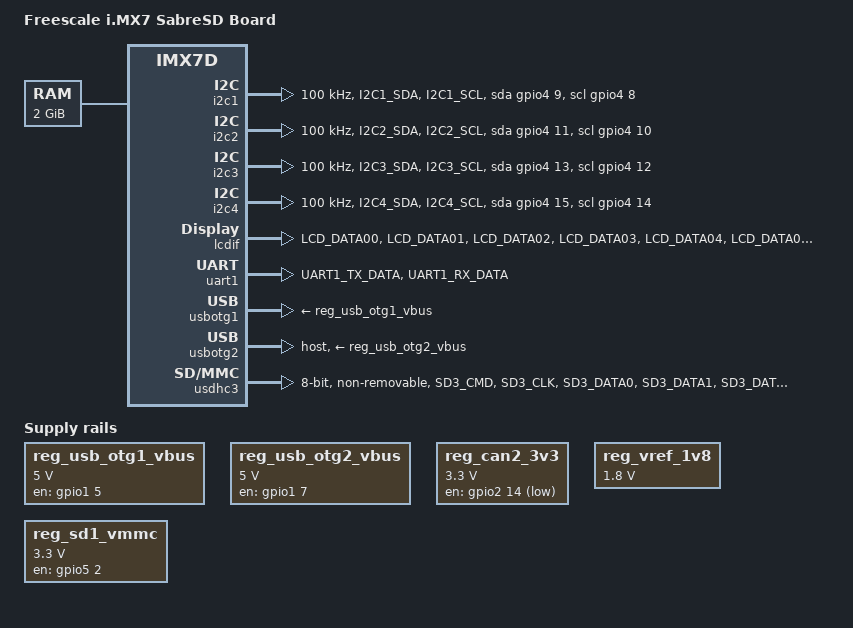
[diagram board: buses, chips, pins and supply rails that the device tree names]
/*
 * Copyright 2017 NXP
 *
 * SPDX-License-Identifier:	GPL-2.0+
 */

/dts-v1/;

#include "imx7d.dtsi"

/ {
	model = "Freescale i.MX7 SabreSD Board";
	compatible = "fsl,imx7d-sdb", "fsl,imx7d";

	memory {
		reg = <0x80000000 0x80000000>;
	};

	regulators {
		compatible = "simple-bus";
		#address-cells = <1>;
		#size-cells = <0>;


		reg_usb_otg1_vbus: regulator@0 {
			compatible = "regulator-fixed";
			reg = <0>;
			regulator-name = "usb_otg1_vbus";
			regulator-min-microvolt = <5000000>;
			regulator-max-microvolt = <5000000>;
			gpio = <&gpio1 5 GPIO_ACTIVE_HIGH>;
			enable-active-high;
		};

		reg_usb_otg2_vbus: regulator@1 {
			compatible = "regulator-fixed";
			reg = <1>;
			regulator-name = "usb_otg2_vbus";
			regulator-min-microvolt = <5000000>;
			regulator-max-microvolt = <5000000>;
			gpio = <&gpio1 7 GPIO_ACTIVE_HIGH>;
			enable-active-high;
		};

		reg_can2_3v3: regulator@2 {
			compatible = "regulator-fixed";
			reg = <2>;
			regulator-name = "can2-3v3";
			regulator-min-microvolt = <3300000>;
			regulator-max-microvolt = <3300000>;
			gpio = <&gpio2 14 GPIO_ACTIVE_LOW>;
		};

		reg_vref_1v8: regulator@3 {
			compatible = "regulator-fixed";
			reg = <3>;
			regulator-name = "vref-1v8";
			regulator-min-microvolt = <1800000>;
			regulator-max-microvolt = <1800000>;
		};

		reg_sd1_vmmc: regulator@5 {
			compatible = "regulator-fixed";
			regulator-name = "VDD_SD1";
			regulator-min-microvolt = <3300000>;
			regulator-max-microvolt = <3300000>;
			gpio = <&gpio5 2 GPIO_ACTIVE_HIGH>;
			startup-delay-us = <200000>;
			off-on-delay = <20000>;
			enable-active-high;
		};

	};
};

&cpu0 {
	/*arm-supply = <&sw1a_reg>;*/
};


&i2c1 {
	clock-frequency = <100000>;
	pinctrl-names = "default", "gpio";
	pinctrl-0 = <&pinctrl_i2c1>;
	scl-gpios = <&gpio4 8 GPIO_ACTIVE_HIGH>;
	sda-gpios = <&gpio4 9 GPIO_ACTIVE_HIGH>;
	status = "okay";
};

&i2c2 {
	clock-frequency = <100000>;
	pinctrl-names = "default", "gpio";
	pinctrl-0 = <&pinctrl_i2c2>;
	scl-gpios = <&gpio4 10 GPIO_ACTIVE_HIGH>;
	sda-gpios = <&gpio4 11 GPIO_ACTIVE_HIGH>;
	status = "okay";
};

&i2c3 {
	clock-frequency = <100000>;
	pinctrl-names = "default", "gpio";
	pinctrl-0 = <&pinctrl_i2c3>;
	scl-gpios = <&gpio4 12 GPIO_ACTIVE_HIGH>;
	sda-gpios = <&gpio4 13 GPIO_ACTIVE_HIGH>;
	status = "okay";
};

&i2c4 {
	clock-frequency = <100000>;
	pinctrl-names = "default", "gpio";
	pinctrl-0 = <&pinctrl_i2c4>;
	scl-gpios = <&gpio4 14 GPIO_ACTIVE_HIGH>;
	sda-gpios = <&gpio4 15 GPIO_ACTIVE_HIGH>;
	status = "okay";
};

&lcdif {
	pinctrl-names = "default";
	pinctrl-0 = <&pinctrl_lcdif>;
	/*enable-gpio = <&gpio_spi 7 GPIO_ACTIVE_LOW>; TODO */
	display = <&display0>;
	status = "okay";

	display0: display@0 {
		bits-per-pixel = <16>;
		bus-width = <24>;

		display-timings {
			native-mode = <&timing0>;

			timing0: timing0 {
				clock-frequency = <40000000>;
				hactive = <334>;
				vactive = <1405>;
				hfront-porch = <1>;
				hback-porch = <1>;
				hsync-len = <1>;
				vback-porch = <1>;
				vfront-porch = <1>;
				vsync-len = <1>;
				hsync-active = <0>;
				vsync-active = <0>;
				de-active = <1>;
				pixelclk-active = <0>;
			};
		};
	};
};

&sdma {
	status = "okay";
};


&iomuxc_lpsr {
	pinctrl-names = "default";
	pinctrl-0 = <&pinctrl_usbotg2_pwr_2>;

	imx7d-sdb {
		pinctrl_usbotg2_pwr_2: usbotg2-2 {
			fsl,pins = <
				MX7D_PAD_GPIO1_IO07__GPIO1_IO7 0x14
			>;
		};

		pinctrl_wdog: wdoggrp {
			fsl,pins = <
				MX7D_PAD_GPIO1_IO00__WDOD1_WDOG_B 0x74
			>;
		};
	};
};

&uart1 {
	pinctrl-names = "default";
	pinctrl-0 = <&pinctrl_uart1>;
	assigned-clocks = <&clks IMX7D_UART1_ROOT_SRC>;
	assigned-clock-parents = <&clks IMX7D_OSC_24M_CLK>;
	status = "okay";
};

&usbotg1 {
	vbus-supply = <&reg_usb_otg1_vbus>;
	srp-disable;
	hnp-disable;
	adp-disable;
	status = "okay";
};

&usbotg2 {
	vbus-supply = <&reg_usb_otg2_vbus>;
	dr_mode = "host";
	status = "okay";
};

&usdhc2 {
	pinctrl-names = "default", "state_100mhz", "state_200mhz";
	pinctrl-0 = <&pinctrl_wifi &pinctrl_usdhc2>;
	pinctrl-1 = <&pinctrl_wifi &pinctrl_usdhc2_100mhz>;
	pinctrl-2 = <&pinctrl_wifi &pinctrl_usdhc2_200mhz>;
	enable-sdio-wakeup;
	keep-power-in-suspend;
	non-removable;
	cd-post;
	pm-ignore-notify;
	wifi-host;
	status = "disabled";
};

&usdhc3 {
	pinctrl-names = "default", "state_100mhz", "state_200mhz";
	pinctrl-0 = <&pinctrl_usdhc3>;
	pinctrl-1 = <&pinctrl_usdhc3_100mhz>;
	pinctrl-2 = <&pinctrl_usdhc3_200mhz>;
	assigned-clocks = <&clks IMX7D_USDHC3_ROOT_CLK>;
	assigned-clock-rates = <400000000>;
	bus-width = <8>;
	non-removable;
	status = "okay";
};

&wdog1 {
	pinctrl-names = "default";
	pinctrl-0 = <&pinctrl_wdog>;
	fsl,ext-reset-output;
};

&iomuxc {
	pinctrl-names = "default";
	pinctrl-0 = <&pinctrl_wifi>;

	imx7d-sdb {
		pinctrl_wifi: wifigrp {
			fsl,pins = <
				MX7D_PAD_SD1_WP__CCM_CLKO2	    0x00000014
			>;
		};

		pinctrl_i2c1: i2c1grp {
			fsl,pins = <
				MX7D_PAD_I2C1_SDA__I2C1_SDA		0x4000007f
				MX7D_PAD_I2C1_SCL__I2C1_SCL		0x4000007f
			>;
		};

		pinctrl_i2c2: i2c2grp {
			fsl,pins = <
				MX7D_PAD_I2C2_SDA__I2C2_SDA		0x4000007f
				MX7D_PAD_I2C2_SCL__I2C2_SCL		0x4000007f
			>;
		};

		pinctrl_i2c3: i2c3grp {
			fsl,pins = <
				MX7D_PAD_I2C3_SDA__I2C3_SDA		0x4000007f
				MX7D_PAD_I2C3_SCL__I2C3_SCL		0x4000007f
			>;
		};

		pinctrl_i2c4: i2c4grp {
			fsl,pins = <
				MX7D_PAD_I2C4_SDA__I2C4_SDA		0x4000007f
				MX7D_PAD_I2C4_SCL__I2C4_SCL		0x4000007f
			>;
		};

		pinctrl_lcdif: lcdifgrp {
			fsl,pins = <
				MX7D_PAD_LCD_DATA00__LCD_DATA0		0x79
				MX7D_PAD_LCD_DATA01__LCD_DATA1		0x79
				MX7D_PAD_LCD_DATA02__LCD_DATA2		0x79
				MX7D_PAD_LCD_DATA03__LCD_DATA3		0x79
				MX7D_PAD_LCD_DATA04__LCD_DATA4		0x79
				MX7D_PAD_LCD_DATA05__LCD_DATA5		0x79
				MX7D_PAD_LCD_DATA06__LCD_DATA6		0x79
				MX7D_PAD_LCD_DATA07__LCD_DATA7		0x79
				MX7D_PAD_LCD_DATA08__LCD_DATA8		0x79
				MX7D_PAD_LCD_DATA09__LCD_DATA9		0x79
				MX7D_PAD_LCD_DATA10__LCD_DATA10		0x79
				MX7D_PAD_LCD_DATA11__LCD_DATA11		0x79
				MX7D_PAD_LCD_DATA12__LCD_DATA12		0x79
				MX7D_PAD_LCD_DATA13__LCD_DATA13		0x79
				MX7D_PAD_LCD_DATA14__LCD_DATA14		0x79
				MX7D_PAD_LCD_DATA15__LCD_DATA15		0x79
				MX7D_PAD_LCD_DATA16__LCD_DATA16		0x79
				MX7D_PAD_LCD_DATA17__LCD_DATA17		0x79
				MX7D_PAD_LCD_DATA18__LCD_DATA18		0x79
				MX7D_PAD_LCD_DATA19__LCD_DATA19		0x79
				MX7D_PAD_LCD_DATA20__LCD_DATA20		0x79
				MX7D_PAD_LCD_DATA21__LCD_DATA21		0x79
				MX7D_PAD_LCD_DATA22__LCD_DATA22		0x79
				MX7D_PAD_LCD_DATA23__LCD_DATA23		0x79
				MX7D_PAD_LCD_CLK__LCD_CLK		0x79
				MX7D_PAD_LCD_ENABLE__LCD_ENABLE		0x79
				MX7D_PAD_LCD_VSYNC__LCD_VSYNC		0x79
				MX7D_PAD_LCD_HSYNC__LCD_HSYNC		0x79
				MX7D_PAD_LCD_RESET__LCD_RESET		0x79
			>;
		};

		pinctrl_uart1: uart1grp {
			fsl,pins = <
				MX7D_PAD_UART1_TX_DATA__UART1_DCE_TX	0x79
				MX7D_PAD_UART1_RX_DATA__UART1_DCE_RX	0x79
			>;
		};

		pinctrl_usbotg2_pwr_1: usbotg2-1 {
			fsl,pins = <
				MX7D_PAD_UART3_CTS_B__GPIO4_IO7	0x14
			>;
		};

		pinctrl_usdhc2: usdhc2grp {
			fsl,pins = <
				MX7D_PAD_SD2_CMD__SD2_CMD		0x59
				MX7D_PAD_SD2_CLK__SD2_CLK		0x19
				MX7D_PAD_SD2_DATA0__SD2_DATA0		0x59
				MX7D_PAD_SD2_DATA1__SD2_DATA1		0x59
				MX7D_PAD_SD2_DATA2__SD2_DATA2		0x59
				MX7D_PAD_SD2_DATA3__SD2_DATA3		0x59
				MX7D_PAD_ECSPI2_MOSI__GPIO4_IO21	0x19 /* WL_REG_ON */
				MX7D_PAD_ECSPI2_SCLK__GPIO4_IO20	0x19 /* WL_HOST_WAKE */
			>;
		};

		pinctrl_usdhc2_100mhz: usdhc2grp_100mhz {
			fsl,pins = <
				MX7D_PAD_SD2_CMD__SD2_CMD		0x5a
				MX7D_PAD_SD2_CLK__SD2_CLK		0x1a
				MX7D_PAD_SD2_DATA0__SD2_DATA0		0x5a
				MX7D_PAD_SD2_DATA1__SD2_DATA1		0x5a
				MX7D_PAD_SD2_DATA2__SD2_DATA2		0x5a
				MX7D_PAD_SD2_DATA3__SD2_DATA3		0x5a
			>;
		};

		pinctrl_usdhc2_200mhz: usdhc2grp_200mhz {
			fsl,pins = <
				MX7D_PAD_SD2_CMD__SD2_CMD		0x5b
				MX7D_PAD_SD2_CLK__SD2_CLK		0x1b
				MX7D_PAD_SD2_DATA0__SD2_DATA0		0x5b
				MX7D_PAD_SD2_DATA1__SD2_DATA1		0x5b
				MX7D_PAD_SD2_DATA2__SD2_DATA2		0x5b
				MX7D_PAD_SD2_DATA3__SD2_DATA3		0x5b
			>;
		};


		pinctrl_usdhc3: usdhc3grp {
			fsl,pins = <
				MX7D_PAD_SD3_CMD__SD3_CMD		0x59
				MX7D_PAD_SD3_CLK__SD3_CLK		0x19
				MX7D_PAD_SD3_DATA0__SD3_DATA0		0x59
				MX7D_PAD_SD3_DATA1__SD3_DATA1		0x59
				MX7D_PAD_SD3_DATA2__SD3_DATA2		0x59
				MX7D_PAD_SD3_DATA3__SD3_DATA3		0x59
				MX7D_PAD_SD3_DATA4__SD3_DATA4		0x59
				MX7D_PAD_SD3_DATA5__SD3_DATA5		0x59
				MX7D_PAD_SD3_DATA6__SD3_DATA6		0x59
				MX7D_PAD_SD3_DATA7__SD3_DATA7		0x59
				MX7D_PAD_SD3_STROBE__SD3_STROBE		0x19
			>;
		};

		pinctrl_usdhc3_100mhz: usdhc3grp_100mhz {
			fsl,pins = <
				MX7D_PAD_SD3_CMD__SD3_CMD		0x5a
				MX7D_PAD_SD3_CLK__SD3_CLK		0x1a
				MX7D_PAD_SD3_DATA0__SD3_DATA0		0x5a
				MX7D_PAD_SD3_DATA1__SD3_DATA1		0x5a
				MX7D_PAD_SD3_DATA2__SD3_DATA2		0x5a
				MX7D_PAD_SD3_DATA3__SD3_DATA3		0x5a
				MX7D_PAD_SD3_DATA4__SD3_DATA4		0x5a
				MX7D_PAD_SD3_DATA5__SD3_DATA5		0x5a
				MX7D_PAD_SD3_DATA6__SD3_DATA6		0x5a
				MX7D_PAD_SD3_DATA7__SD3_DATA7		0x5a
				MX7D_PAD_SD3_STROBE__SD3_STROBE		0x1a
			>;
		};

		pinctrl_usdhc3_200mhz: usdhc3grp_200mhz {
			fsl,pins = <
				MX7D_PAD_SD3_CMD__SD3_CMD		0x5b
				MX7D_PAD_SD3_CLK__SD3_CLK		0x1b
				MX7D_PAD_SD3_DATA0__SD3_DATA0		0x5b
				MX7D_PAD_SD3_DATA1__SD3_DATA1		0x5b
				MX7D_PAD_SD3_DATA2__SD3_DATA2		0x5b
				MX7D_PAD_SD3_DATA3__SD3_DATA3		0x5b
				MX7D_PAD_SD3_DATA4__SD3_DATA4		0x5b
				MX7D_PAD_SD3_DATA5__SD3_DATA5		0x5b
				MX7D_PAD_SD3_DATA6__SD3_DATA6		0x5b
				MX7D_PAD_SD3_DATA7__SD3_DATA7		0x5b
				MX7D_PAD_SD3_STROBE__SD3_STROBE		0x1b
			>;
		};

	};
};
